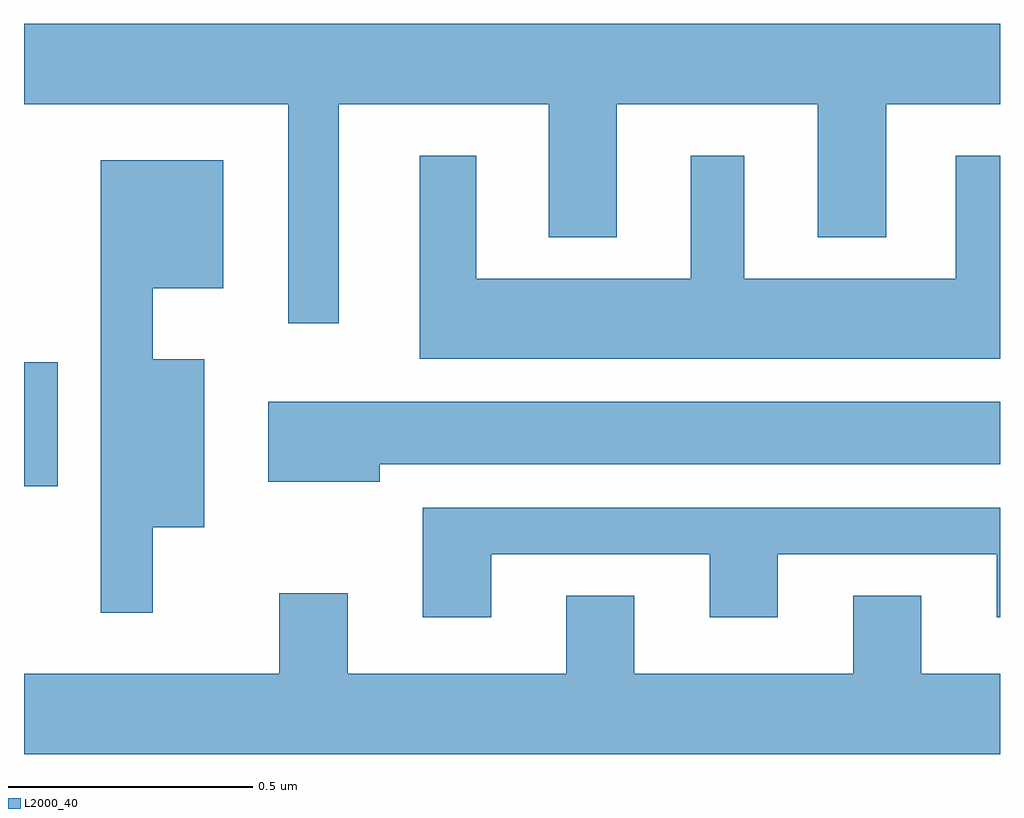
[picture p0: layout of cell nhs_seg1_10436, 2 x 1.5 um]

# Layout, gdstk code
import gdstk
lib = gdstk.Library(unit=1e-6, precision=1e-09)
def R(c, l, rs):  # rectangles x0, y0, x1, y1
    for r in rs: c.add(gdstk.rectangle(r[:2], r[2:], *l))
def P(c, l, *ps):  # polygons
    for p in ps: c.add(gdstk.Polygon(p, *l))
L2000_40 = (2000, 40)

nhs_seg1_10436 = lib.new_cell('nhs_seg1_10436')
R(nhs_seg1_10436, L2000_40, [(241,542.957,241.069,543.211)])
P(nhs_seg1_10436, L2000_40, [(241.645,543.74),(242.075,543.74),(242.075,543.467),(242.215,543.467),(242.215,543.74),(242.627,543.74),(242.627,543.467),(242.767,543.467),(242.767,543.74),(243,543.74),(243,543.904),(241,543.904),(241,543.74),(241.541,543.74),(241.541,543.291),(241.645,543.291)],
  [(243,543.634),(242.909,543.634),(242.909,543.382),(242.476,543.382),(242.476,543.634),(242.366,543.634),(242.366,543.382),(241.927,543.382),(241.927,543.634),(241.811,543.634),(241.811,543.218),(243,543.218)],
  [(241.264,542.873),(241.369,542.873),(241.369,543.217),(241.264,543.217),(241.264,543.362),(241.408,543.362),(241.408,543.625),(241.157,543.625),(241.157,542.697),(241.264,542.697)],
  [(241.729,543.002),(243,543.002),(243,543.13),(241.5,543.13),(241.5,542.966),(241.729,542.966)],
  [(241.957,542.817),(242.405,542.817),(242.405,542.688),(242.545,542.688),(242.545,542.817),(242.993,542.817),(242.993,542.688),(243,542.688),(243,542.913),(241.817,542.913),(241.817,542.688),(241.957,542.688)],
  [(243,542.572),(242.839,542.572),(242.839,542.732),(242.699,542.732),(242.699,542.572),(242.251,542.572),(242.251,542.732),(242.111,542.732),(242.111,542.572),(241.663,542.572),(241.663,542.737),(241.523,542.737),(241.523,542.572),(241,542.572),(241,542.408),(243,542.408)])

lib.write_gds('nhs_seg1_10436.gds')
